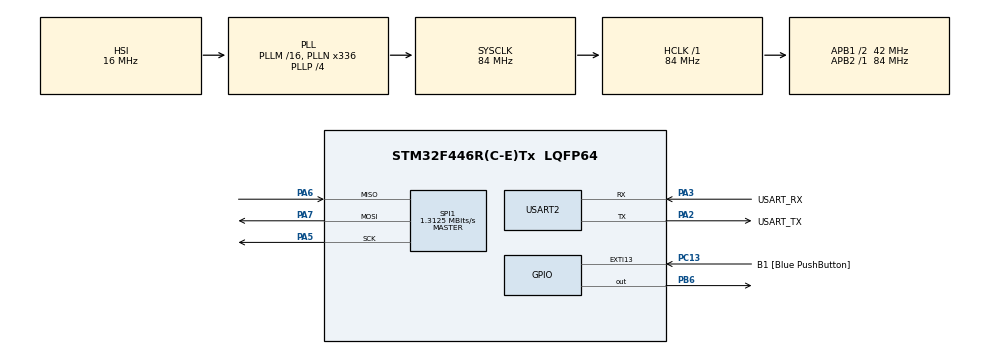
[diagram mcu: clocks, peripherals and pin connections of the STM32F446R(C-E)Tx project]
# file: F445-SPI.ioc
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Mcu.Family=STM32F4
Mcu.Name=STM32F446R(C-E)Tx
Mcu.Package=LQFP64
NVIC.PriorityGroup=NVIC_PRIORITYGROUP_0
PA13.GPIO_Label=TMS
PA13.Mode=Serial_Wire
PA13.Signal=SYS_JTMS-SWDIO
PA14.GPIO_Label=TCK
PA14.Mode=Serial_Wire
PA14.Signal=SYS_JTCK-SWCLK
PA2.GPIO_Label=USART_TX
PA2.Mode=Asynchronous
PA2.Signal=USART2_TX
PA3.GPIO_Label=USART_RX
PA3.Mode=Asynchronous
PA3.Signal=USART2_RX
PA5.Mode=Full_Duplex_Master
PA5.Signal=SPI1_SCK
PA6.Mode=Full_Duplex_Master
PA6.Signal=SPI1_MISO
PA7.Mode=Full_Duplex_Master
PA7.Signal=SPI1_MOSI
PB3.GPIO_Label=SWO
PB3.Signal=SYS_JTDO-SWO
PB6.Signal=GPIO_Output
PC13.GPIO_Label=B1 [Blue PushButton]
PC13.GPIO_ModeDefaultEXTI=GPIO_MODE_IT_FALLING
PC13.Signal=GPXTI13
PC14-OSC32_IN.Mode=LSE-External-Oscillator
PC14-OSC32_IN.Signal=RCC_OSC32_IN
PC15-OSC32_OUT.Mode=LSE-External-Oscillator
PC15-OSC32_OUT.Signal=RCC_OSC32_OUT
PH0-OSC_IN.Mode=HSE-External-Oscillator
PH0-OSC_IN.Signal=RCC_OSC_IN
PH1-OSC_OUT.Mode=HSE-External-Oscillator
PH1-OSC_OUT.Signal=RCC_OSC_OUT
ProjectManager.HeapSize=0x200
ProjectManager.StackSize=0x400
ProjectManager.TargetToolchain=STM32CubeIDE
RCC.48MHZClocksFreq_Value=84000000
RCC.AHBFreq_Value=84000000
RCC.APB1CLKDivider=RCC_HCLK_DIV2
RCC.APB1Freq_Value=42000000
RCC.APB1TimFreq_Value=84000000
RCC.APB2Freq_Value=84000000
RCC.APB2TimFreq_Value=84000000
RCC.CortexFreq_Value=84000000
RCC.FLatency-AdvancedSettings=FLASH_LATENCY_2
RCC.HCLKFreq_Value=84000000
RCC.HSE_VALUE=8000000
RCC.HSI_VALUE=16000000
RCC.PLLN=336
RCC.PLLP=RCC_PLLP_DIV4
RCC.SYSCLKFreq_VALUE=84000000
RCC.SYSCLKSource=RCC_SYSCLKSOURCE_PLLCLK
RCC.USBFreq_Value=168000000
RCC.VCOOutputFreq_Value=336000000
SPI1.BaudRatePrescaler=SPI_BAUDRATEPRESCALER_64
SPI1.CalculateBaudRate=1.3125 MBits/s
SPI1.Direction=SPI_DIRECTION_2LINES
SPI1.Mode=SPI_MODE_MASTER
SPI1.VirtualType=VM_MASTER
USART2.VirtualMode=VM_ASYNC
board=NUCLEO-F446RE

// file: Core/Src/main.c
/* USER CODE BEGIN Header */
/**
  ******************************************************************************
  * @file           : main.c
  * @brief          : Main program body
  ******************************************************************************
  * @attention
  *
  * Copyright (c) 2025 STMicroelectronics.
  * All rights reserved.
  *
  * This software is licensed under terms that can be found in the LICENSE file
  * in the root directory of this software component.
  * If no LICENSE file comes with this software, it is provided AS-IS.
  *
  ******************************************************************************
  */
/* USER CODE END Header */
#include "main.h"

/* USER CODE BEGIN Includes */
#include <stdio.h>
/* USER CODE END Includes */

SPI_HandleTypeDef hspi1;

UART_HandleTypeDef huart2;

void SystemClock_Config(void);
static void MX_GPIO_Init(void);
static void MX_USART2_UART_Init(void);
static void MX_SPI1_Init(void);
/* USER CODE BEGIN PFP */

//25AA040A inst
const uint8_t EEPROM_READ = 0B00000011;
const uint8_t EEPROM_WRITE = 0B00000010;
const uint8_t EEPROM_WRDI = 0B00000100;
const uint8_t EEPROM_WREN = 0B00000110;
const uint8_t EEPROM_RDSR = 0B00000101;
const uint8_t EEPROM_WRSR = 0B00000001;

/* USER CODE END PFP */

int main(void)
{

  /* USER CODE BEGIN 1 */
	char uart_buf[50];
	int uart_buf_len;
	char spi_buf[20];

  /* USER CODE END 1 */

  /* MCU Configuration--------------------------------------------------------*/

  /* Reset of all peripherals, Initializes the Flash interface and the Systick. */
  HAL_Init();

  /* Configure the system clock */
  SystemClock_Config();

  /* Initialize all configured peripherals */
  MX_GPIO_Init();
  MX_USART2_UART_Init();
  MX_SPI1_Init();
  /* USER CODE BEGIN 2 */

  //cs pin should defualt high
  HAL_GPIO_WritePin(GPIOB, GPIO_PIN_6, GPIO_PIN_SET);

  //say something
  uart_buf_len = sprintf(uart_buf, "SPI Tes\r\n");
  HAL_UART_Transmit(&huart2, (uint8_t*)uart_buf, uart_buf_len, 100);

  //Enable write enable latch
  HAL_GPIO_WritePin(GPIOB, GPIO_PIN_6, GPIO_PIN_RESET);
  HAL_SPI_Transmit(&hspi1, (uint8_t*)&EEPROM_WREN,1,100);
  HAL_GPIO_WritePin(GPIOB, GPIO_PIN_6, GPIO_PIN_SET);

  //Enable read enable latch
  HAL_GPIO_WritePin(GPIOB, GPIO_PIN_6, GPIO_PIN_RESET);
   HAL_SPI_Transmit(&hspi1, (uint8_t*)&EEPROM_WREN,1,100);
   HAL_SPI_Receive(&hspi1,(uint8_t*)spi_buf, 1, 100);
   HAL_GPIO_WritePin(GPIOB, GPIO_PIN_6, GPIO_PIN_SET);

   // print out reg
   uart_buf_len = sprintf(uart_buf, "Status: 0x%02x\r\n", (unsigned int)spi_buf[0]);

   HAL_UART_Transmit(&huart2, (uint8_t*)uart_buf, uart_buf_len, 100);

  /* USER CODE END 2 */

  /* Infinite loop */
  while (1)
  {

  }
}

void SystemClock_Config(void)
{
  RCC_OscInitTypeDef RCC_OscInitStruct = {0};
  RCC_ClkInitTypeDef RCC_ClkInitStruct = {0};

  /** Configure the main internal regulator output voltage
  */
  __HAL_RCC_PWR_CLK_ENABLE();
  __HAL_PWR_VOLTAGESCALING_CONFIG(PWR_REGULATOR_VOLTAGE_SCALE3);

  /** Initializes the RCC Oscillators according to the specified parameters
  * in the RCC_OscInitTypeDef structure.
  */
  RCC_OscInitStruct.OscillatorType = RCC_OSCILLATORTYPE_HSI;
  RCC_OscInitStruct.HSIState = RCC_HSI_ON;
  RCC_OscInitStruct.HSICalibrationValue = RCC_HSICALIBRATION_DEFAULT;
  RCC_OscInitStruct.PLL.PLLState = RCC_PLL_ON;
  RCC_OscInitStruct.PLL.PLLSource = RCC_PLLSOURCE_HSI;
  RCC_OscInitStruct.PLL.PLLM = 16;
  RCC_OscInitStruct.PLL.PLLN = 336;
  RCC_OscInitStruct.PLL.PLLP = RCC_PLLP_DIV4;
  RCC_OscInitStruct.PLL.PLLQ = 2;
  RCC_OscInitStruct.PLL.PLLR = 2;
  if (HAL_RCC_OscConfig(&RCC_OscInitStruct) != HAL_OK)
  {
    Error_Handler();
  }

  /** Initializes the CPU, AHB and APB buses clocks
  */
  RCC_ClkInitStruct.ClockType = RCC_CLOCKTYPE_HCLK|RCC_CLOCKTYPE_SYSCLK
                              |RCC_CLOCKTYPE_PCLK1|RCC_CLOCKTYPE_PCLK2;
  RCC_ClkInitStruct.SYSCLKSource = RCC_SYSCLKSOURCE_PLLCLK;
  RCC_ClkInitStruct.AHBCLKDivider = RCC_SYSCLK_DIV1;
  RCC_ClkInitStruct.APB1CLKDivider = RCC_HCLK_DIV2;
  RCC_ClkInitStruct.APB2CLKDivider = RCC_HCLK_DIV1;

  if (HAL_RCC_ClockConfig(&RCC_ClkInitStruct, FLASH_LATENCY_2) != HAL_OK)
  {
    Error_Handler();
  }
}

static void MX_SPI1_Init(void)
{

  /* SPI1 parameter configuration*/
  hspi1.Instance = SPI1;
  hspi1.Init.Mode = SPI_MODE_MASTER;
  hspi1.Init.Direction = SPI_DIRECTION_2LINES;
  hspi1.Init.DataSize = SPI_DATASIZE_8BIT;
  hspi1.Init.CLKPolarity = SPI_POLARITY_LOW;
  hspi1.Init.CLKPhase = SPI_PHASE_1EDGE;
  hspi1.Init.NSS = SPI_NSS_SOFT;
  hspi1.Init.BaudRatePrescaler = SPI_BAUDRATEPRESCALER_64;
  hspi1.Init.FirstBit = SPI_FIRSTBIT_MSB;
  hspi1.Init.TIMode = SPI_TIMODE_DISABLE;
  hspi1.Init.CRCCalculation = SPI_CRCCALCULATION_DISABLE;
  hspi1.Init.CRCPolynomial = 10;
  if (HAL_SPI_Init(&hspi1) != HAL_OK)
  {
    Error_Handler();
  }

}

static void MX_USART2_UART_Init(void)
{

  huart2.Instance = USART2;
  huart2.Init.BaudRate = 115200;
  huart2.Init.WordLength = UART_WORDLENGTH_8B;
  huart2.Init.StopBits = UART_STOPBITS_1;
  huart2.Init.Parity = UART_PARITY_NONE;
  huart2.Init.Mode = UART_MODE_TX_RX;
  huart2.Init.HwFlowCtl = UART_HWCONTROL_NONE;
  huart2.Init.OverSampling = UART_OVERSAMPLING_16;
  if (HAL_UART_Init(&huart2) != HAL_OK)
  {
    Error_Handler();
  }

}

static void MX_GPIO_Init(void)
{
  GPIO_InitTypeDef GPIO_InitStruct = {0};

  /* GPIO Ports Clock Enable */
  __HAL_RCC_GPIOC_CLK_ENABLE();
  __HAL_RCC_GPIOH_CLK_ENABLE();
  __HAL_RCC_GPIOA_CLK_ENABLE();
  __HAL_RCC_GPIOB_CLK_ENABLE();

  /*Configure GPIO pin Output Level */
  HAL_GPIO_WritePin(GPIOB, GPIO_PIN_6, GPIO_PIN_RESET);

  /*Configure GPIO pin : B1_Pin */
  GPIO_InitStruct.Pin = B1_Pin;
  GPIO_InitStruct.Mode = GPIO_MODE_IT_FALLING;
  GPIO_InitStruct.Pull = GPIO_NOPULL;
  HAL_GPIO_Init(B1_GPIO_Port, &GPIO_InitStruct);

  /*Configure GPIO pin : PB6 */
  GPIO_InitStruct.Pin = GPIO_PIN_6;
  GPIO_InitStruct.Mode = GPIO_MODE_OUTPUT_PP;
  GPIO_InitStruct.Pull = GPIO_NOPULL;
  GPIO_InitStruct.Speed = GPIO_SPEED_FREQ_LOW;
  HAL_GPIO_Init(GPIOB, &GPIO_InitStruct);

}

void Error_Handler(void)
{
  __disable_irq();
  while (1)
  {
  }
}
